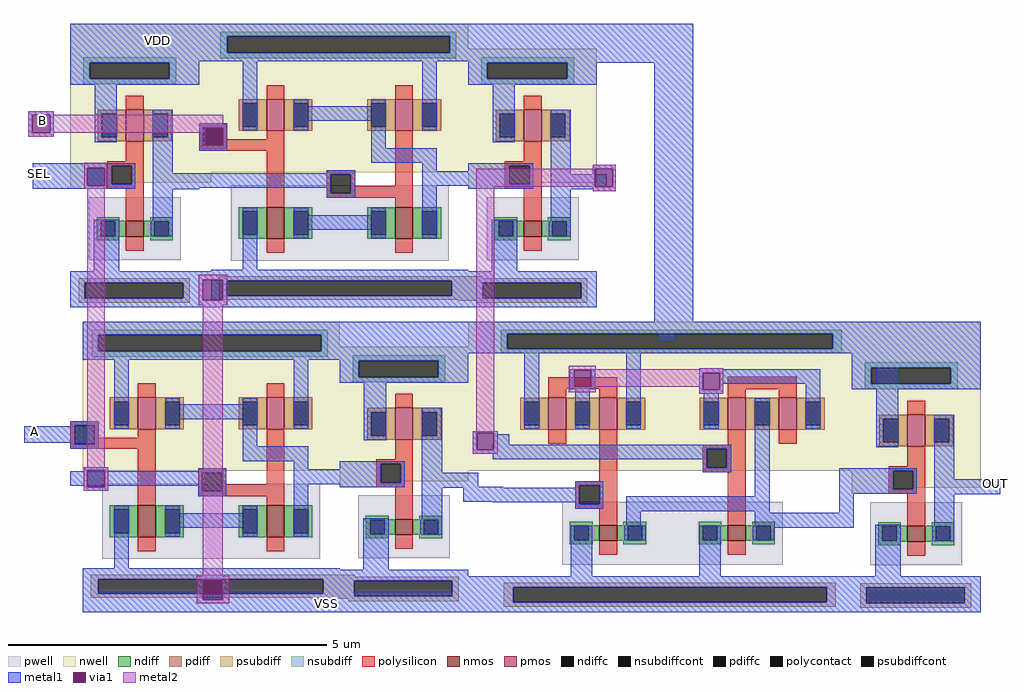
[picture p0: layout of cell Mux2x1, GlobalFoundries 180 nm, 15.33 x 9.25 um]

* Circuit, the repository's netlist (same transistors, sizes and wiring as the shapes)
* NGSPICE file created from Mux2x1.ext - technology: gf180mcuC

.subckt pmos_3p3_M8RWPS a_n28_n94# w_n202_n180# a_n116_n50# a_28_n50#
X0 a_28_n50# a_n28_n94# a_n116_n50# w_n202_n180# pfet_03v3 ad=0.22p pd=1.88u as=0.22p ps=1.88u w=0.5u l=0.28u
.ends

.subckt nmos_3p3_H9QVWA a_n120_n36# a_28_n25# a_n28_n69# VSUBS
X0 a_28_n25# a_n28_n69# a_n120_n36# VSUBS nfet_03v3 ad=0.155p pd=1.64u as=0.155p ps=1.64u w=0.25u l=0.28u
.ends

.subckt Inverter VDD VSS IN OUT
Xnmos_3p3_H9QVWA_0 VSS OUT IN VSS nmos_3p3_H9QVWA
Xpmos_3p3_M8RWPS_0 IN VDD VDD OUT pmos_3p3_M8RWPS
.ends

.subckt nmos_3p3_HZS5UA a_n28_n94# a_n116_n50# a_28_n50# VSUBS
X0 a_28_n50# a_n28_n94# a_n116_n50# VSUBS nfet_03v3 ad=0.22p pd=1.88u as=0.22p ps=1.88u w=0.5u l=0.28u
.ends

.subckt AND VDD VSS OUT A B
Xpmos_3p3_M8RWPS_0 B VDD Inverter_0/IN VDD pmos_3p3_M8RWPS
XInverter_0 VDD VSS Inverter_0/IN OUT Inverter
Xpmos_3p3_M8RWPS_1 A VDD VDD Inverter_0/IN pmos_3p3_M8RWPS
Xnmos_3p3_HZS5UA_0 A VSS m1_279_80# VSS nmos_3p3_HZS5UA
Xnmos_3p3_HZS5UA_1 B m1_279_80# Inverter_0/IN VSS nmos_3p3_HZS5UA
.ends

.subckt pmos_3p3_MGRWPS a_n52_n50# a_n196_n50# a_52_n94# a_108_n50# a_n108_n94# w_n282_n180#
X0 a_108_n50# a_52_n94# a_n52_n50# w_n282_n180# pfet_03v3 ad=0.22p pd=1.88u as=0.13p ps=1.02u w=0.5u l=0.28u
X1 a_n52_n50# a_n108_n94# a_n196_n50# w_n282_n180# pfet_03v3 ad=0.13p pd=1.02u as=0.22p ps=1.88u w=0.5u l=0.28u
.ends

.subckt OR A B VSS VDD OUT
Xnmos_3p3_H9QVWA_0 VSS Inverter_0/IN A VSS nmos_3p3_H9QVWA
Xpmos_3p3_MGRWPS_0 Inverter_0/IN m1_242_550# A m1_242_550# A VDD pmos_3p3_MGRWPS
Xnmos_3p3_H9QVWA_1 VSS Inverter_0/IN B VSS nmos_3p3_H9QVWA
Xpmos_3p3_MGRWPS_1 m1_242_550# VDD B VDD B VDD pmos_3p3_MGRWPS
XInverter_0 VDD VSS Inverter_0/IN OUT Inverter
.ends

.subckt Mux2x1 A B VDD VSS SEL OUT
XAND_0 VDD VSS OR_0/A B AND_0/B AND
XAND_1 VDD VSS OR_0/B A SEL AND
XInverter_0 VDD VSS SEL AND_0/B Inverter
XOR_0 OR_0/A OR_0/B VSS VDD OUT OR
.ends

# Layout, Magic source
magic
tech gf180mcuC
magscale 1 10
<< nwell >>
rect 0 1710 442 1828
rect 404 1328 442 1710
rect 1250 423 1362 891
<< metal1 >>
rect 0 1710 442 1828
rect 1481 1706 1956 1828
rect -132 1542 -52 1553
rect -132 1486 -120 1542
rect -64 1486 -52 1542
rect -132 1473 -52 1486
rect 415 1501 489 1502
rect 415 1445 424 1501
rect 480 1445 489 1501
rect 415 1444 489 1445
rect -119 1375 129 1390
rect -119 1319 52 1375
rect 108 1319 129 1375
rect 1640 1372 1713 1385
rect 322 1355 404 1359
rect -119 1309 129 1319
rect 1640 1316 1647 1372
rect 1703 1316 1713 1372
rect 1640 1302 1713 1316
rect 404 1024 443 1050
rect 404 1023 488 1024
rect 404 959 415 1023
rect 479 959 488 1023
rect 404 958 488 959
rect 404 937 443 958
rect 1197 792 1352 891
rect 1834 867 1956 1706
rect 1848 834 1896 867
rect -146 511 68 564
rect 1264 543 1343 548
rect 1264 489 1276 543
rect 1330 539 1343 543
rect 1330 489 1378 539
rect 1264 477 1378 489
rect 1332 459 1378 477
rect 41 426 119 434
rect 41 372 53 426
rect 107 422 119 426
rect 107 376 182 422
rect 107 372 119 376
rect 41 361 119 372
rect 1234 373 1281 418
rect 1234 326 1360 373
rect 2846 350 2920 397
rect 415 81 479 90
rect 415 43 416 81
rect 38 19 416 43
rect 478 43 479 81
rect 1244 50 1391 92
rect 1200 43 1391 50
rect 478 19 1391 43
rect 38 -21 1391 19
<< via1 >>
rect -120 1486 -64 1542
rect 424 1445 480 1501
rect 52 1319 108 1375
rect 1647 1316 1703 1372
rect 415 959 479 1023
rect 1276 489 1330 543
rect 53 372 107 426
rect 416 19 478 81
<< metal2 >>
rect -132 1542 -52 1553
rect -132 1486 -120 1542
rect -64 1512 480 1542
rect -64 1501 491 1512
rect -64 1486 424 1501
rect -132 1473 -52 1486
rect 412 1445 424 1486
rect 480 1445 491 1501
rect 412 1437 491 1445
rect 424 1436 480 1437
rect 44 1375 114 1391
rect 44 1319 52 1375
rect 108 1319 114 1375
rect 1640 1372 1713 1385
rect 44 1309 114 1319
rect 1275 1316 1647 1372
rect 1703 1316 1713 1372
rect 52 434 108 1309
rect 403 1023 492 1039
rect 403 959 415 1023
rect 479 959 492 1023
rect 403 944 492 959
rect 41 426 119 434
rect 41 372 53 426
rect 107 372 119 426
rect 41 361 119 372
rect 415 94 479 944
rect 1275 548 1331 1316
rect 1640 1302 1713 1316
rect 1264 543 1343 548
rect 1264 489 1276 543
rect 1330 489 1343 543
rect 1264 477 1343 489
rect 396 81 499 94
rect 396 19 416 81
rect 478 19 499 81
rect 396 7 499 19
use AND  AND_0
transform 1 0 422 0 1 1074
box -18 -137 1331 754
use AND  AND_1
transform 1 0 18 0 1 137
box -18 -137 1331 754
use Inverter  Inverter_0
transform 1 0 118 0 1 1151
box -118 -214 286 599
use OR  OR_0 ~/GF180Projects/GF_INV/Magic
transform 1 0 1327 0 1 129
box 0 -150 1631 762
<< labels >>
flabel metal1 -113 548 -113 548 0 FreeSans 480 0 0 0 A
port 0 nsew
flabel via1 -89 1523 -89 1523 0 FreeSans 480 0 0 0 B
port 1 nsew
flabel metal1 274 1774 274 1774 0 FreeSans 480 0 0 0 VDD
port 2 nsew
flabel metal1 804 8 804 8 0 FreeSans 480 0 0 0 VSS
port 3 nsew
flabel metal1 -97 1358 -97 1358 0 FreeSans 480 0 0 0 SEL
port 4 nsew
flabel metal1 2907 383 2907 383 0 FreeSans 480 0 0 0 OUT
port 5 nsew
<< end >>

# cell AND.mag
magic
tech gf180mcuC
magscale 1 10
<< nwell >>
rect 20 636 828 754
rect 68 355 108 391
<< pwell >>
rect 362 10 486 246
rect 493 207 653 216
<< psubdiff >>
rect 46 -54 873 -40
rect 46 -100 69 -54
rect 776 -100 873 -54
rect 46 -113 873 -100
rect 797 -116 873 -113
<< nsubdiff >>
rect 49 714 790 729
rect 49 662 70 714
rect 769 662 790 714
rect 49 645 790 662
<< psubdiffcont >>
rect 69 -100 776 -54
<< nsubdiffcont >>
rect 70 662 769 714
<< polysilicon >>
rect -18 429 71 442
rect -18 370 -5 429
rect 58 391 71 429
rect 58 386 205 391
rect 58 370 250 386
rect -18 355 250 370
rect 194 222 250 355
rect 383 281 472 294
rect 383 222 396 281
rect 459 244 472 281
rect 598 244 654 373
rect 459 222 654 244
rect 383 207 653 222
<< polycontact >>
rect -5 370 58 429
rect 396 222 459 281
<< metal1 >>
rect 20 714 1232 754
rect 20 662 70 714
rect 769 676 1232 714
rect 769 662 828 676
rect 20 636 828 662
rect -18 429 71 442
rect -18 370 -5 429
rect 58 370 71 429
rect 119 419 165 636
rect 279 495 325 515
rect 523 495 569 515
rect 279 449 569 495
rect 279 419 325 449
rect -18 355 71 370
rect 523 363 569 449
rect 683 419 729 636
rect 523 317 729 363
rect 383 285 472 294
rect -18 281 472 285
rect -18 239 396 281
rect 383 222 396 239
rect 459 222 472 281
rect 383 207 472 222
rect 683 291 729 317
rect 683 245 853 291
rect 119 -19 165 176
rect 279 153 325 176
rect 523 153 569 176
rect 279 107 569 153
rect 279 80 325 107
rect 523 80 569 107
rect 683 80 729 245
rect 1185 234 1263 281
rect 20 -54 828 -19
rect 20 -100 69 -54
rect 776 -100 828 -54
rect 20 -137 828 -100
use Inverter  Inverter_0
transform 1 0 946 0 1 77
box -118 -214 286 599
use nmos_3p3_HZS5UA  nmos_3p3_HZS5UA_0
transform 1 0 222 0 1 128
box -140 -118 140 118
use nmos_3p3_HZS5UA  nmos_3p3_HZS5UA_1
transform 1 0 626 0 1 128
box -140 -118 140 118
use pmos_3p3_M8RWPS  pmos_3p3_M8RWPS_0
transform 1 0 626 0 1 467
box -202 -180 202 180
use pmos_3p3_M8RWPS  pmos_3p3_M8RWPS_1
transform 1 0 222 0 1 467
box -202 -180 202 180
<< labels >>
flabel nsubdiffcont 417 690 417 690 0 FreeSans 480 0 0 0 VDD
port 0 nsew
flabel psubdiffcont 422 -73 422 -73 0 FreeSans 480 0 0 0 VSS
port 1 nsew
flabel metal1 1245 259 1245 259 0 FreeSans 480 0 0 0 OUT
port 2 nsew
flabel polycontact 25 398 25 398 0 FreeSans 480 0 0 0 A
port 3 nsew
flabel metal1 15 252 15 252 0 FreeSans 480 0 0 0 B
port 4 nsew
flabel metal1 300 130 300 130 0 FreeSans 480 0 0 0 SD1
port 5 nsew
flabel metal1 540 470 540 470 0 FreeSans 480 0 0 0 SD2
port 6 nsew
<< end >>

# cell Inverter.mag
magic
tech gf180mcuC
magscale 1 10
<< nwell >>
rect -118 486 286 599
rect -42 305 28 486
rect 1 239 86 245
rect -118 158 86 239
<< psubdiff >>
rect -92 -136 256 -123
rect -92 -185 -73 -136
rect 236 -185 256 -136
rect -92 -200 256 -185
<< nsubdiff >>
rect -78 555 214 572
rect -78 504 -58 555
rect 192 504 214 555
rect -78 487 214 504
<< psubdiffcont >>
rect -73 -185 236 -136
<< nsubdiffcont >>
rect -58 504 192 555
<< polysilicon >>
rect 56 245 112 263
rect -3 231 112 245
rect -3 172 11 231
rect 74 172 112 231
rect -3 158 112 172
rect 56 102 112 158
<< polycontact >>
rect 11 172 74 231
<< metal1 >>
rect -118 555 286 599
rect -118 504 -58 555
rect 192 504 286 555
rect -118 486 286 504
rect -42 305 28 486
rect -118 231 86 239
rect -118 172 11 231
rect 74 172 86 231
rect -118 158 86 172
rect 140 204 204 407
rect 140 157 286 204
rect -45 -101 36 61
rect 140 9 204 157
rect -118 -136 286 -101
rect -118 -185 -73 -136
rect 236 -185 286 -136
rect -118 -214 286 -185
use nmos_3p3_H9QVWA  nmos_3p3_H9QVWA_0
transform 1 0 84 0 1 33
box -144 -99 144 99
use pmos_3p3_M8RWPS  pmos_3p3_M8RWPS_0 ~/GF180Projects/GF_INV/Magic
transform 1 0 84 0 1 357
box -202 -180 202 180
<< labels >>
flabel nsubdiffcont 67 530 67 530 0 FreeSans 640 0 0 0 VDD
port 1 nsew
flabel psubdiffcont 81 -162 81 -162 0 FreeSans 640 0 0 0 VSS
port 2 nsew
flabel metal1 -95 199 -95 199 0 FreeSans 640 0 0 0 IN
port 3 nsew
flabel metal1 272 172 272 172 0 FreeSans 640 0 0 0 OUT
port 5 nsew
<< end >>

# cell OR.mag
magic
tech gf180mcuC
magscale 1 10
<< nwell >>
rect 0 663 1532 762
rect 0 646 1128 663
rect 174 581 390 588
rect 738 551 954 590
rect 898 361 954 380
<< pwell >>
rect 506 0 622 198
<< psubdiff >>
rect 34 -72 1077 -57
rect 34 -118 64 -72
rect 1048 -118 1077 -72
rect 34 -133 1077 -118
<< nsubdiff >>
rect 24 725 1096 738
rect 24 678 45 725
rect 1067 678 1096 725
rect 24 663 1096 678
<< psubdiffcont >>
rect 64 -118 1048 -72
<< nsubdiffcont >>
rect 45 678 1067 725
<< polysilicon >>
rect 174 552 390 588
rect 738 551 954 590
rect 334 262 390 380
rect 738 377 794 380
rect 659 363 794 377
rect 659 304 672 363
rect 735 304 794 363
rect 659 290 794 304
rect 258 249 390 262
rect 258 190 272 249
rect 335 190 390 249
rect 258 175 390 190
rect 334 168 390 175
rect 738 168 794 290
<< polycontact >>
rect 672 304 735 363
rect 272 190 335 249
<< metal1 >>
rect 0 725 1532 762
rect 0 678 45 725
rect 1067 678 1532 725
rect 0 663 1532 678
rect 99 426 145 663
rect 242 612 321 614
rect 242 558 255 612
rect 309 558 321 612
rect 242 550 321 558
rect 259 426 305 550
rect 419 426 465 663
rect 1128 619 1527 663
rect 649 614 723 616
rect 649 603 1029 614
rect 649 549 659 603
rect 713 568 1029 603
rect 713 549 723 568
rect 649 536 723 549
rect 663 426 709 536
rect 659 376 748 377
rect 0 363 748 376
rect 0 330 672 363
rect 659 304 672 330
rect 735 304 748 363
rect 659 290 748 304
rect 258 249 347 262
rect 258 241 272 249
rect 0 195 272 241
rect 258 190 272 195
rect 335 190 347 249
rect 823 214 869 522
rect 983 426 1029 568
rect 1204 498 1274 619
rect 258 175 347 190
rect 419 168 869 214
rect 419 122 465 168
rect 823 162 869 168
rect 1088 222 1214 303
rect 1088 162 1134 222
rect 1485 221 1566 268
rect 823 122 1134 162
rect 244 -37 312 122
rect 412 76 480 122
rect 648 -37 716 122
rect 816 116 1134 122
rect 816 76 884 116
rect 0 -72 1514 -37
rect 0 -118 64 -72
rect 1048 -118 1514 -72
rect 0 -150 1514 -118
<< via1 >>
rect 255 558 309 612
rect 659 549 713 603
<< metal2 >>
rect 239 614 323 624
rect 649 614 723 616
rect 239 612 723 614
rect 239 558 255 612
rect 309 603 723 612
rect 309 558 659 603
rect 239 541 323 558
rect 649 549 659 558
rect 713 549 723 603
rect 649 536 723 549
use Inverter  Inverter_0
transform 1 0 1246 0 1 64
box -118 -214 286 599
use nmos_3p3_H9QVWA  nmos_3p3_H9QVWA_0
transform 1 0 766 0 1 99
box -144 -99 144 99
use nmos_3p3_H9QVWA  nmos_3p3_H9QVWA_1
transform 1 0 362 0 1 99
box -144 -99 144 99
use pmos_3p3_MGRWPS  pmos_3p3_MGRWPS_0
transform 1 0 846 0 1 474
box -282 -180 282 180
use pmos_3p3_MGRWPS  pmos_3p3_MGRWPS_1
transform 1 0 282 0 1 474
box -282 -180 282 180
<< labels >>
flabel metal1 13 353 13 353 0 FreeSans 640 0 0 0 A
port 1 nsew
flabel metal1 21 217 21 217 0 FreeSans 640 0 0 0 B
port 2 nsew
flabel psubdiffcont 556 -94 556 -94 0 FreeSans 640 0 0 0 VSS
port 3 nsew
flabel nsubdiffcont 555 703 555 703 0 FreeSans 640 0 0 0 VDD
port 4 nsew
flabel metal1 1542 239 1542 239 0 FreeSans 640 0 0 0 OUT
port 5 nsew
flabel metal1 690 480 690 480 0 FreeSans 480 0 0 0 SD1
port 6 nsew
flabel metal1 440 100 440 100 0 FreeSans 480 0 0 0 SD2
port 7 nsew
<< end >>

# cell nmos_3p3_H9QVWA: kit device nmos_3p3, w 0.250 l 0.280 m 1 nf 1 diffcov 100 polycov 100 guard 0 glc 0 grc 0 gtc 0 gbc 0 tbcov 100 rlcov 100 topc 0 botc 0 poverlap 0 doverlap 1 lmin 0.28 wmin 0.22 full_metal 0 compatible {nmos_3p3 nmos_6p0 nmos_6p0_nat}

# cell pmos_3p3_MGRWPS: kit device pmos_3p3, w 0.50 l 0.280 m 1 nf 2 diffcov 100 polycov 100 guard 0 glc 0 grc 0 gtc 0 gbc 0 tbcov 100 rlcov 100 topc 0 botc 0 poverlap 0 doverlap 1 lmin 0.28 wmin 0.22 full_metal 0 compatible {pmos_3p3 pmos_6p0}

# cell pmos_3p3_M8RWPS: kit device pmos_3p3, w 0.50 l 0.280 m 1 nf 1 diffcov 100 polycov 100 guard 0 glc 0 grc 0 gtc 0 gbc 0 tbcov 100 rlcov 100 topc 0 botc 0 poverlap 0 doverlap 1 lmin 0.28 wmin 0.22 full_metal 0 compatible {pmos_3p3 pmos_6p0}

# cell nmos_3p3_HZS5UA: kit device nmos_3p3, w 0.50 l 0.280 m 1 nf 1 diffcov 100 polycov 100 guard 0 glc 0 grc 0 gtc 0 gbc 0 tbcov 100 rlcov 100 topc 0 botc 0 poverlap 0 doverlap 1 lmin 0.28 wmin 0.22 full_metal 0 compatible {nmos_3p3 nmos_6p0 nmos_6p0_nat}
